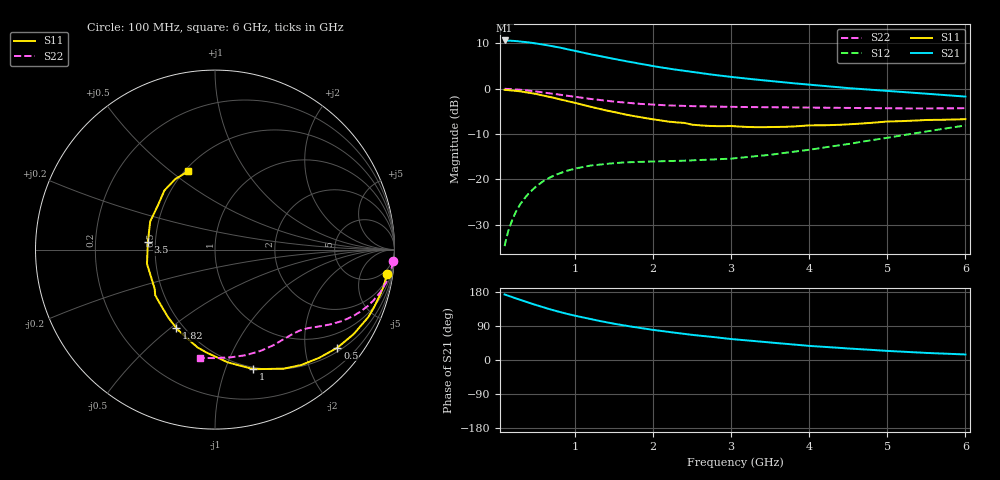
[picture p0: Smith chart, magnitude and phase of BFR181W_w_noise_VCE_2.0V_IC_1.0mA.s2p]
! Infineon Technologies  Discrete & RF Semiconductors
! BFR181W
! VCE =  2.0 V,  IC =  1.0 mA
! Common Emitter S-Parameters:  Nov 2015
# GHz  S  MA  R  50
!  f  S11  S21  S12  S22
! GHz  MAG  ANG  MAG  ANG  MAG  ANG  MAG  ANG
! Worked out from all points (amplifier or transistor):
!   192 points, 100 MHz to 6 GHz, reference 50 ohm
!   highest |S21| = 10.6 dB at 100 MHz (marker M1)
!   |S21| within 3 dB of that: start of sweep to 1.189 GHz
!   unconditionally stable (mu >= 1): 2.523 GHz to 3.925 GHz
!   at 440 MHz: K = 0.20, MSG = 16.3 dB, |S12| = -22.6 dB
!   at 1.7 GHz: K = 0.74, MSG = 11.1 dB, |S12| = -16.2 dB
!   at 6 GHz: K = 0.79, MSG = 3.2 dB, |S12| = -8.1 dB
!   lowest NFmin = 1.30 dB at 450 MHz
!   S11 on the Smith chart (normalised r, x): 100 MHz: 3, -14; 500 MHz: 0.59, -2.73; 1 GHz: 0.48, -1.25; 1.82 GHz: 0.46, -0.52; 3.5 GHz: 0.45, +0.05; 6 GHz: 0.52, +0.58
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0.1  0.969 -8.0  3.386 173.0  0.0184 84.7  0.9939 -3.8
0.16  0.96 -12.9  3.37 168.6  0.0293 81.6  0.9891 -6.0
0.26  0.9405 -20.7  3.325 161.5  0.0466 77.0  0.9766 -9.6
0.4  0.9045 -31.4  3.237 151.7  0.0687 70.6  0.9517 -14.4
0.5  0.8739 -38.7  3.149 145.2  0.0831 66.1  0.9298 -17.5
0.6  0.8369 -46.1  3.054 138.8  0.0962 62.3  0.9065 -20.4
0.7  0.8028 -53.2  2.945 132.6  0.107 58.7  0.8818 -23.0
0.8  0.7665 -59.9  2.837 127.1  0.1162 55.6  0.8573 -25.4
0.9  0.7276 -66.1  2.714 121.8  0.1247 52.6  0.8341 -27.4
1  0.699 -72.3  2.61 116.9  0.1314 50.1  0.8111 -29.4
1.1  0.6622 -77.7  2.49 112.5  0.1366 47.8  0.7899 -31.0
1.2  0.6319 -83.6  2.387 107.7  0.1421 45.7  0.7694 -32.7
1.4  0.5751 -94.8  2.203 99.5  0.1484 42.6  0.7339 -35.4
1.6  0.5283 -105.1  2.042 92.1  0.1532 40.5  0.7058 -37.7
1.82  0.4874 -116.3  1.887 85.0  0.1558 39.4  0.68 -40.0
2.08  0.4471 -128.3  1.723 77.4  0.158 39.1  0.6601 -42.6
2.5  0.4005 -147.1  1.522 66.3  0.162 40.6  0.6408 -46.6
3.1  0.3819 -171.8  1.315 53.6  0.1726 46.3  0.6275 -53.6
3.5  0.3767 173.5  1.213 46.0  0.1866 50.5  0.624 -58.8
4.1  0.3935 153.4  1.084 35.9  0.2184 55.3  0.6167 -67.2
5.1  0.4357 128.3  0.932 23.0  0.2968 58.4  0.6053 -83.0
6  0.4609 108.9  0.816 14.6  0.3923 55.6  0.6089 -97.7
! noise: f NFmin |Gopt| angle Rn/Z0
0.45  1.3  0.7  18  0.5
0.9  1.4  0.6  39  0.52
1.8  1.85  0.4  81  0.47
